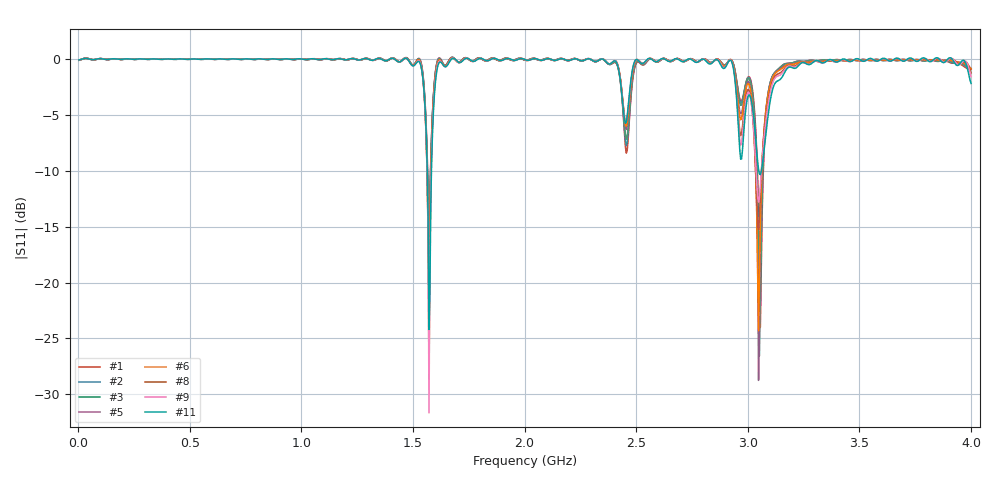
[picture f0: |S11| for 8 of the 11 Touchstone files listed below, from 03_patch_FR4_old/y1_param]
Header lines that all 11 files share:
! TOUCHSTONE file generated by CST MICROWAVE STUDIO
! Project name: AppElm_antenne_patch_FR4.cst
! Header version: 2018
! Port assignment regex: !\s*Touchstone port\s*([0-9]+)\s*=\s*(CST MWS port|CST DS port)\s*([0-9]+|Zmin|Zmax)\s*\(\"(.*)\"\)(\s*mode\s*([0-9]+))?.*
! Touchstone port assignment:
! Touchstone port 1 = CST MWS port 1 ("")
# GHz S MA R 50
Fixed: L = 45, W = 58.5, e = 0.035, h = 1.6, lambda = 0.190476, ls = 120, w0 = 1.6, w1 = 0.533333, ws = 120, y0 = 20
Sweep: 4 MHz to 4 GHz
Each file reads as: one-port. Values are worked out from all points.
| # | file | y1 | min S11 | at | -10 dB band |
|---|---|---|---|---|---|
| 1 | AppElm_antenne_patch_FR4_1.s1p | 17.86 | -24.0 dB | 3.056 GHz | 26.64 MHz wide |
| 2 | AppElm_antenne_patch_FR4_2.s1p | 19.05 | -22.4 dB | 3.056 GHz | 26.57 MHz wide |
| 3 | AppElm_antenne_patch_FR4_3.s1p | 20.24 | -26.6 dB | 3.052 GHz | 26.91 MHz wide |
| 4 | AppElm_antenne_patch_FR4_4.s1p | 21.43 | -29.0 dB | 3.052 GHz | 27.4 MHz wide |
| 5 | AppElm_antenne_patch_FR4_5.s1p | 22.62 | -28.8 dB | 3.048 GHz | 27.65 MHz wide |
| 6 | AppElm_antenne_patch_FR4_6.s1p | 23.81 | -24.3 dB | 3.048 GHz | 28.03 MHz wide |
| 7 | AppElm_antenne_patch_FR4_7.s1p | 25 | -24.2 dB | 1.572 GHz | 27.75 MHz wide |
| 8 | AppElm_antenne_patch_FR4_8.s1p | 26.19 | -28.6 dB | 1.572 GHz | 26.42 MHz wide |
| 9 | AppElm_antenne_patch_FR4_9.s1p | 27.38 | -31.7 dB | 1.572 GHz | 23.55 MHz wide |
| 10 | AppElm_antenne_patch_FR4_10.s1p | 28.57 | -27.6 dB | 1.572 GHz | 18.56 MHz wide |
| 11 | AppElm_antenne_patch_FR4_11.s1p | 29.76 | -24.2 dB | 1.572 GHz | 18.81 MHz wide |
